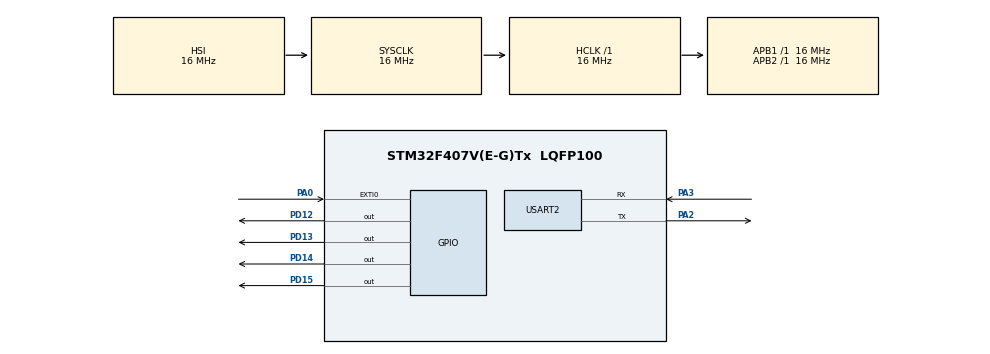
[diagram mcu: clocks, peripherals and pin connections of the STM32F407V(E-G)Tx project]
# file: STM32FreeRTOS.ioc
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Dma.Request0=USART2_TX
Dma.Request1=USART2_RX
Dma.USART2_RX.1.Direction=DMA_PERIPH_TO_MEMORY
Dma.USART2_RX.1.FIFOMode=DMA_FIFOMODE_DISABLE
Dma.USART2_RX.1.Instance=DMA1_Stream5
Dma.USART2_RX.1.MemDataAlignment=DMA_MDATAALIGN_BYTE
Dma.USART2_RX.1.MemInc=DMA_MINC_ENABLE
Dma.USART2_RX.1.Mode=DMA_NORMAL
Dma.USART2_RX.1.PeriphDataAlignment=DMA_PDATAALIGN_BYTE
Dma.USART2_RX.1.PeriphInc=DMA_PINC_DISABLE
Dma.USART2_RX.1.Priority=DMA_PRIORITY_MEDIUM
Dma.USART2_TX.0.Direction=DMA_MEMORY_TO_PERIPH
Dma.USART2_TX.0.FIFOMode=DMA_FIFOMODE_DISABLE
Dma.USART2_TX.0.Instance=DMA1_Stream6
Dma.USART2_TX.0.MemDataAlignment=DMA_MDATAALIGN_BYTE
Dma.USART2_TX.0.MemInc=DMA_MINC_ENABLE
Dma.USART2_TX.0.Mode=DMA_NORMAL
Dma.USART2_TX.0.PeriphDataAlignment=DMA_PDATAALIGN_BYTE
Dma.USART2_TX.0.PeriphInc=DMA_PINC_DISABLE
Dma.USART2_TX.0.Priority=DMA_PRIORITY_MEDIUM
FREERTOS.Tasks01=defaultTask,24,128,StartDefaultTask,Default,NULL,Dynamic,NULL,NULL
FREERTOS.configTICK_RATE_HZ=1000
Mcu.Family=STM32F4
Mcu.Name=STM32F407V(E-G)Tx
Mcu.Package=LQFP100
NVIC.DMA1_Stream5_IRQn=true\:5\:0\:false\:false\:true\:true\:false\:true
NVIC.DMA1_Stream6_IRQn=true\:5\:0\:false\:false\:true\:true\:false\:true
NVIC.EXTI0_IRQn=true\:5\:0\:false\:false\:true\:true\:true\:true
NVIC.PriorityGroup=NVIC_PRIORITYGROUP_4
NVIC.TIM6_DAC_IRQn=true\:0\:0\:false\:false\:true\:false\:false\:true
NVIC.TimeBase=TIM6_DAC_IRQn
NVIC.TimeBaseIP=TIM6
NVIC.USART2_IRQn=true\:5\:0\:false\:false\:true\:true\:true\:true
PA0-WKUP.Signal=GPXTI0
PA2.Mode=Asynchronous
PA2.Signal=USART2_TX
PA3.Mode=Asynchronous
PA3.Signal=USART2_RX
PD12.Signal=GPIO_Output
PD13.Signal=GPIO_Output
PD14.Signal=GPIO_Output
PD15.Signal=GPIO_Output
ProjectManager.HeapSize=0x200
ProjectManager.StackSize=0x400
ProjectManager.TargetToolchain=TrueSTUDIO
RCC.AHBFreq_Value=16000000
RCC.APB1Freq_Value=16000000
RCC.APB1TimFreq_Value=16000000
RCC.APB2Freq_Value=16000000
RCC.APB2TimFreq_Value=16000000
RCC.CortexFreq_Value=16000000
RCC.HCLKFreq_Value=16000000
RCC.HSE_VALUE=25000000
RCC.HSI_VALUE=16000000
RCC.LSE_VALUE=32768
RCC.SYSCLKFreq_VALUE=16000000
RCC.VCOOutputFreq_Value=192000000
USART2.VirtualMode=VM_ASYNC
VP_FREERTOS_VS_CMSIS_V2.Mode=CMSIS_V2
VP_SYS_VS_tim6.Mode=TIM6
board=custom

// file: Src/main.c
/* USER CODE BEGIN Header */
/**
  ******************************************************************************
  * @file           : main.c
  * @brief          : Main program body
  ******************************************************************************
  * @attention
  *
  * <h2><center>&copy; Copyright (c) 2020 STMicroelectronics.
  * All rights reserved.</center></h2>
  *
  * This software component is licensed by ST under Ultimate Liberty license
  * SLA0044, the "License"; You may not use this file except in compliance with
  * the License. You may obtain a copy of the License at:
  *                             www.st.com/SLA0044
  *
  ******************************************************************************
  */
/* USER CODE END Header */

#include "main.h"
#include "cmsis_os.h"

UART_HandleTypeDef huart2;
DMA_HandleTypeDef hdma_usart2_tx;
DMA_HandleTypeDef hdma_usart2_rx;

/* Definitions for defaultTask */
osThreadId_t defaultTaskHandle;
const osThreadAttr_t defaultTask_attributes = {
  .name = "defaultTask",
  .priority = (osPriority_t) osPriorityNormal,
  .stack_size = 128 * 4
};
/* USER CODE BEGIN PV */
const char pvText[] = "This is the text that should be transmitted through USART2 via DMA\n";
/* USER CODE END PV */

void SystemClock_Config(void);
static void MX_GPIO_Init(void);
static void MX_DMA_Init(void);
static void MX_USART2_UART_Init(void);
void StartDefaultTask(void *argument);

/* USER CODE BEGIN 0 */
int delay_ms = 500;
TaskHandle_t blinkerHandle;

//HAL_GPIO_WritePin(GPIO_TypeDef* GPIOx, uint16_t GPIO_Pin, GPIO_PinState PinState);
void vTaskBlinker(void *pBlinker) {
	uint32_t notificationValue;
//	TickType_t delay_ticks = delay_ms / portTICK_PERIOD_MS;
	while(1) {
		for(int pin = 12; pin < 16; pin++) {
			HAL_GPIO_TogglePin(GPIOD, (1 << pin));
			//vTaskDelay(delay_ms / portTICK_PERIOD_MS);
			//vTaskDelay(delay_ms / portTICK_PERIOD_MS);
			xTaskNotifyWait(0, 0, &notificationValue, portMAX_DELAY);
			HAL_GPIO_TogglePin(GPIOD, (1 << pin));
			vTaskDelay(100 / portTICK_PERIOD_MS);
			xTaskNotifyStateClear(NULL);
		}
	}

}

//void vTaskSendUART2(void *pSenderUART2) {
//	uint32_t uart_delay_ms = 320;
//	TickType_t delay_ticks = uart_delay_ms / portTICK_PERIOD_MS;
//	while(1) {
//		int data = 33;
//		HAL_UART_Transmit(&huart2, (uint8_t *)&data, 1, 0);
//		vTaskDelay(delay_ticks);
//	}
//
//}
void vTaskSendUART2_DMA (void *pSenderUART2_DMA) {
	uint32_t uart_dma_delay_ms = 1000;
	TickType_t delay_ticks = uart_dma_delay_ms / portTICK_PERIOD_MS;
	uint16_t buf_size = sizeof(pvText);
	while(1) {
		//HAL_StatusTypeDef HAL_DMA_Start (DMA_HandleTypeDef *hdma, uint32_t SrcAddress, uint32_t DstAddress, uint32_t DataLength);
		//HAL_DMA_Start(&hdma_usart2_tx, (uint32_t)pvText, USART2_BASE, buf_size);

		//HAL_StatusTypeDef HAL_UART_Transmit_DMA(UART_HandleTypeDef *huart, uint8_t *pData, uint16_t Size);
		HAL_UART_Transmit_DMA(&huart2, (uint8_t*)pvText, buf_size);
		vTaskDelay(delay_ticks);
	}
}
//void VTaskReceiveUART2_DMA(void *pSenderUART2_DMA) {
//	//const char * ack = ""
//	while(1) {
//		//HAL_StatusTypeDef HAL_UART_Receive_DMA(UART_HandleTypeDef *huart, uint8_t *pData, uint16_t Size);
//		HAL_UART_Receive_DMA(&huart2, )
//	}
//
//}
/* USER CODE END 0 */

int main(void)
{

  /* MCU Configuration--------------------------------------------------------*/

  /* Reset of all peripherals, Initializes the Flash interface and the Systick. */
  HAL_Init();

  /* Configure the system clock */
  SystemClock_Config();

  /* Initialize all configured peripherals */
  MX_GPIO_Init();
  MX_DMA_Init();
  MX_USART2_UART_Init();
  /* USER CODE BEGIN 2 */
  /*
  BaseType_t xTaskCreate(
  							  TaskFunction_t pvTaskCode,
  							  const char * const pcName,
  							  configSTACK_DEPTH_TYPE usStackDepth,
  							  void *pvParameters,
  							  UBaseType_t uxPriority,
  							  TaskHandle_t *pvCreatedTask
  						  );
  	*/
  xTaskCreate(
		  vTaskBlinker,
		  "Blinker",
		  configMINIMAL_STACK_SIZE,
		  0,
		  2,
		  &blinkerHandle);
  xTaskCreate(
		  vTaskSendUART2_DMA,
  		  "UART2_DMA",
  		  configMINIMAL_STACK_SIZE,
  		  0,
  		  2,
  		  0		  );

//  xTaskCreate(
//		  vTaskSendUART2,
//  		  "Send UART2",
//  		  configMINIMAL_STACK_SIZE,
//  		  0,
//  		  2,
//  		  0		  );

  /* USER CODE END 2 */

  /* Init scheduler */
  osKernelInitialize();

  /* Create the thread(s) */
  /* creation of defaultTask */
  defaultTaskHandle = osThreadNew(StartDefaultTask, NULL, &defaultTask_attributes);

  /* Start scheduler */
  osKernelStart();

  /* We should never get here as control is now taken by the scheduler */
  /* Infinite loop */
  while (1)
  {

  }
}

void SystemClock_Config(void)
{
  RCC_OscInitTypeDef RCC_OscInitStruct = {0};
  RCC_ClkInitTypeDef RCC_ClkInitStruct = {0};

  /** Configure the main internal regulator output voltage
  */
  __HAL_RCC_PWR_CLK_ENABLE();
  __HAL_PWR_VOLTAGESCALING_CONFIG(PWR_REGULATOR_VOLTAGE_SCALE1);
  /** Initializes the CPU, AHB and APB busses clocks
  */
  RCC_OscInitStruct.OscillatorType = RCC_OSCILLATORTYPE_HSI;
  RCC_OscInitStruct.HSIState = RCC_HSI_ON;
  RCC_OscInitStruct.HSICalibrationValue = RCC_HSICALIBRATION_DEFAULT;
  RCC_OscInitStruct.PLL.PLLState = RCC_PLL_NONE;
  if (HAL_RCC_OscConfig(&RCC_OscInitStruct) != HAL_OK)
  {
    Error_Handler();
  }
  /** Initializes the CPU, AHB and APB busses clocks
  */
  RCC_ClkInitStruct.ClockType = RCC_CLOCKTYPE_HCLK|RCC_CLOCKTYPE_SYSCLK
                              |RCC_CLOCKTYPE_PCLK1|RCC_CLOCKTYPE_PCLK2;
  RCC_ClkInitStruct.SYSCLKSource = RCC_SYSCLKSOURCE_HSI;
  RCC_ClkInitStruct.AHBCLKDivider = RCC_SYSCLK_DIV1;
  RCC_ClkInitStruct.APB1CLKDivider = RCC_HCLK_DIV1;
  RCC_ClkInitStruct.APB2CLKDivider = RCC_HCLK_DIV1;

  if (HAL_RCC_ClockConfig(&RCC_ClkInitStruct, FLASH_LATENCY_0) != HAL_OK)
  {
    Error_Handler();
  }
}

static void MX_USART2_UART_Init(void)
{

  huart2.Instance = USART2;
  huart2.Init.BaudRate = 9600;
  huart2.Init.WordLength = UART_WORDLENGTH_8B;
  huart2.Init.StopBits = UART_STOPBITS_1;
  huart2.Init.Parity = UART_PARITY_NONE;
  huart2.Init.Mode = UART_MODE_TX_RX;
  huart2.Init.HwFlowCtl = UART_HWCONTROL_NONE;
  huart2.Init.OverSampling = UART_OVERSAMPLING_16;
  if (HAL_UART_Init(&huart2) != HAL_OK)
  {
    Error_Handler();
  }

}

static void MX_DMA_Init(void)
{

  /* DMA controller clock enable */
  __HAL_RCC_DMA1_CLK_ENABLE();

  /* DMA interrupt init */
  /* DMA1_Stream5_IRQn interrupt configuration */
  HAL_NVIC_SetPriority(DMA1_Stream5_IRQn, 5, 0);
  HAL_NVIC_EnableIRQ(DMA1_Stream5_IRQn);
  /* DMA1_Stream6_IRQn interrupt configuration */
  HAL_NVIC_SetPriority(DMA1_Stream6_IRQn, 5, 0);
  HAL_NVIC_EnableIRQ(DMA1_Stream6_IRQn);

}

static void MX_GPIO_Init(void)
{
  GPIO_InitTypeDef GPIO_InitStruct = {0};

  /* GPIO Ports Clock Enable */
  __HAL_RCC_GPIOA_CLK_ENABLE();
  __HAL_RCC_GPIOD_CLK_ENABLE();

  /*Configure GPIO pin Output Level */
  HAL_GPIO_WritePin(GPIOD, GPIO_PIN_12|GPIO_PIN_13|GPIO_PIN_14|GPIO_PIN_15, GPIO_PIN_RESET);

  /*Configure GPIO pin : PA0 */
  GPIO_InitStruct.Pin = GPIO_PIN_0;
  GPIO_InitStruct.Mode = GPIO_MODE_IT_RISING;
  GPIO_InitStruct.Pull = GPIO_NOPULL;
  HAL_GPIO_Init(GPIOA, &GPIO_InitStruct);

  /*Configure GPIO pins : PD12 PD13 PD14 PD15 */
  GPIO_InitStruct.Pin = GPIO_PIN_12|GPIO_PIN_13|GPIO_PIN_14|GPIO_PIN_15;
  GPIO_InitStruct.Mode = GPIO_MODE_OUTPUT_PP;
  GPIO_InitStruct.Pull = GPIO_NOPULL;
  GPIO_InitStruct.Speed = GPIO_SPEED_FREQ_LOW;
  HAL_GPIO_Init(GPIOD, &GPIO_InitStruct);

  /* EXTI interrupt init*/
  HAL_NVIC_SetPriority(EXTI0_IRQn, 5, 0);
  HAL_NVIC_EnableIRQ(EXTI0_IRQn);

}

/* USER CODE BEGIN 4 */
void HAL_UART_TxCpltCallback(UART_HandleTypeDef *huart) {
	__NOP();
}

void HAL_UART_RxCpltCallback(UART_HandleTypeDef *huart) {
	__NOP();
}
void HAL_GPIO_EXTI_Callback(uint16_t pin) {
	__NOP();
//	if(delay_ms == 500)
//		delay_ms = 50;
//	else
//		delay_ms = 500;
	//xTaskNotifyFromISR( xTaskToNotify, ulValue, eAction, pxHigherPriorityTaskWoken )
	xTaskNotifyFromISR(blinkerHandle, 0, eNoAction, NULL);
	//vTaskDelay(100 / portTICK_PERIOD_MS);
}

/* USER CODE END 4 */

void StartDefaultTask(void *argument)
{
  for(;;)
  {
    osDelay(1);
  }
}

 /**
  * @brief  Period elapsed callback in non blocking mode
  * @note   This function is called  when TIM6 interrupt took place, inside
  * HAL_TIM_IRQHandler(). It makes a direct call to HAL_IncTick() to increment
  * a global variable "uwTick" used as application time base.
  * @param  htim : TIM handle
  * @retval None
  */
void HAL_TIM_PeriodElapsedCallback(TIM_HandleTypeDef *htim)
{
  if (htim->Instance == TIM6) {
    HAL_IncTick();
  }
}

void Error_Handler(void)
{
}

/************************ (C) COPYRIGHT STMicroelectronics *****END OF FILE****/
